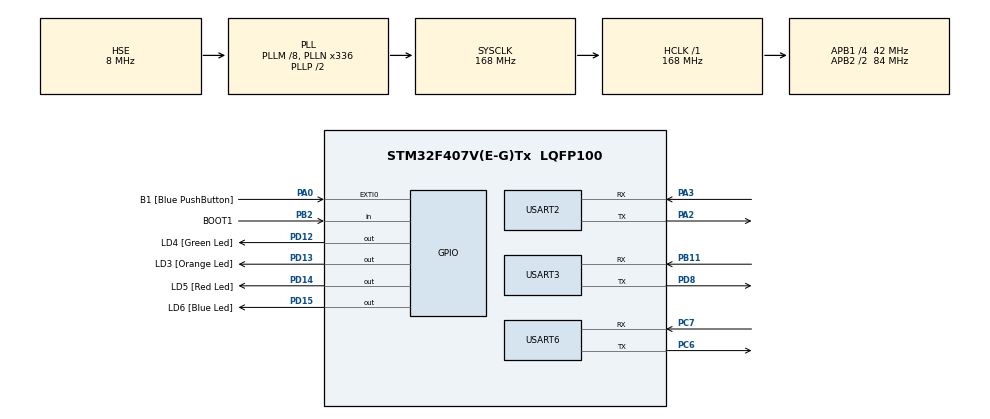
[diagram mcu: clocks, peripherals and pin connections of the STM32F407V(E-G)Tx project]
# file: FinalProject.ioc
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FREERTOS.Tasks01=defaultTask,0,128,StartDefaultTask,Default,NULL
Mcu.Family=STM32F4
Mcu.Name=STM32F407V(E-G)Tx
Mcu.Package=LQFP100
NVIC.EXTI0_IRQn=true\:0\:0\:false\:false\:true\:false\:true\:true
NVIC.PriorityGroup=NVIC_PRIORITYGROUP_4
NVIC.TIM8_TRG_COM_TIM14_IRQn=true\:0\:0\:false\:false\:true\:false\:false\:true
NVIC.TimeBase=TIM8_TRG_COM_TIM14_IRQn
NVIC.TimeBaseIP=TIM14
NVIC.USART2_IRQn=true\:5\:0\:false\:false\:true\:true\:true\:true
NVIC.USART3_IRQn=true\:5\:0\:false\:false\:true\:true\:true\:true
PA0-WKUP.GPIO_Label=B1 [Blue PushButton]
PA0-WKUP.GPIO_ModeDefaultEXTI=GPIO_MODE_IT_RISING
PA0-WKUP.GPIO_PuPd=GPIO_NOPULL
PA0-WKUP.Signal=GPXTI0
PA13.GPIO_Label=SWDIO
PA13.Mode=Serial_Wire
PA13.Signal=SYS_JTMS-SWDIO
PA14.GPIO_Label=SWCLK
PA14.Mode=Serial_Wire
PA14.Signal=SYS_JTCK-SWCLK
PA2.Mode=Asynchronous
PA2.Signal=USART2_TX
PA3.Mode=Asynchronous
PA3.Signal=USART2_RX
PB11.Mode=Asynchronous
PB11.Signal=USART3_RX
PB2.GPIO_Label=BOOT1
PB2.GPIO_Mode=GPIO_MODE_INPUT
PB2.GPIO_PuPd=GPIO_NOPULL
PB2.Signal=GPIO_Input
PB3.GPIO_Label=SWO
PB3.Signal=SYS_JTDO-SWO
PC14-OSC32_IN.GPIO_Label=PC14-OSC32_IN
PC14-OSC32_IN.Mode=LSE-External-Oscillator
PC14-OSC32_IN.Signal=RCC_OSC32_IN
PC15-OSC32_OUT.GPIO_Label=PC15-OSC32_OUT
PC15-OSC32_OUT.Mode=LSE-External-Oscillator
PC15-OSC32_OUT.Signal=RCC_OSC32_OUT
PC6.Mode=Asynchronous
PC6.Signal=USART6_TX
PC7.Mode=Asynchronous
PC7.Signal=USART6_RX
PD12.GPIO_Label=LD4 [Green Led]
PD12.GPIO_PuPd=GPIO_NOPULL
PD12.GPIO_Speed=GPIO_SPEED_FREQ_LOW
PD12.Signal=GPIO_Output
PD13.GPIO_Label=LD3 [Orange Led]
PD13.GPIO_PuPd=GPIO_NOPULL
PD13.GPIO_Speed=GPIO_SPEED_FREQ_LOW
PD13.Signal=GPIO_Output
PD14.GPIO_Label=LD5 [Red Led]
PD14.GPIO_PuPd=GPIO_NOPULL
PD14.GPIO_Speed=GPIO_SPEED_FREQ_LOW
PD14.Signal=GPIO_Output
PD15.GPIO_Label=LD6 [Blue Led]
PD15.GPIO_PuPd=GPIO_NOPULL
PD15.GPIO_Speed=GPIO_SPEED_FREQ_LOW
PD15.Signal=GPIO_Output
PD8.Mode=Asynchronous
PD8.Signal=USART3_TX
PH0-OSC_IN.GPIO_Label=PH0-OSC_IN
PH0-OSC_IN.Mode=HSE-External-Oscillator
PH0-OSC_IN.Signal=RCC_OSC_IN
PH1-OSC_OUT.GPIO_Label=PH1-OSC_OUT
PH1-OSC_OUT.Mode=HSE-External-Oscillator
PH1-OSC_OUT.Signal=RCC_OSC_OUT
ProjectManager.HeapSize=0x200
ProjectManager.StackSize=0x400
ProjectManager.TargetToolchain=Makefile
RCC.48MHZClocksFreq_Value=48000000
RCC.AHBFreq_Value=168000000
RCC.APB1CLKDivider=RCC_HCLK_DIV4
RCC.APB1Freq_Value=42000000
RCC.APB1TimFreq_Value=84000000
RCC.APB2CLKDivider=RCC_HCLK_DIV2
RCC.APB2Freq_Value=84000000
RCC.APB2TimFreq_Value=168000000
RCC.CortexFreq_Value=168000000
RCC.HCLKFreq_Value=168000000
RCC.HSE_VALUE=8000000
RCC.HSI_VALUE=16000000
RCC.PLLM=8
RCC.PLLN=336
RCC.PLLQ=7
RCC.PLLSourceVirtual=RCC_PLLSOURCE_HSE
RCC.SYSCLKFreq_VALUE=168000000
RCC.SYSCLKSource=RCC_SYSCLKSOURCE_PLLCLK
RCC.VCOOutputFreq_Value=336000000
USART2.VirtualMode=VM_ASYNC
USART3.VirtualMode=VM_ASYNC
USART6.VirtualMode=VM_ASYNC
VP_FREERTOS_VS_CMSIS_V1.Mode=CMSIS_V1
VP_SYS_VS_tim14.Mode=TIM14
board=STM32F4DISCOVERY

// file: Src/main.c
/* USER CODE BEGIN Header */
/**
/*
 * Copyright (C)  2019 Hamid Najafi <hamid.najafi@email.com>
 * Use of this source code is governed by a BSD-style
 * license that can be found in the LICENSE file.
 */
/* USER CODE END Header */

#include "main.h"
#include "cmsis_os.h"

/* USER CODE BEGIN Includes */
#include "eeprom.h"
#include <stdio.h>
#include <string.h>

/* USER CODE END Includes */

UART_HandleTypeDef huart2;
UART_HandleTypeDef huart3;
UART_HandleTypeDef huart6;

osThreadId defaultTaskHandle;
/* USER CODE BEGIN PV */

#define Wifi_Init 1

#define IndexPageCharCount 731
unsigned char IndexPage[IndexPageCharCount] =
    "<style type=\"text/css\">body{background-color:rgb(162,168,170)}.title{padding:15px 32px;border:2px solid #857f7f;border-radius:15px}.btn{background-color:rgb(21,34,36);border:1px solid #000;color:white;padding:20px 100px;border-radius:8px;width:100%}.btn:hover{background-color:hsl(315,42%,30%)}</style><h1 class=\"title\" align=\"center\">WiFi SMS Panel</h1><div><form action=\"/contact\"><button class=\"btn\" id=contact type=\"submit\" onclick=\"contact()\">Goto Contact Page</button></form><form action=\"/sms\"><button class=\"btn\" id=sms type=\"submit\" onclick=\"sms()\">Goto SMS Page</button></form><form action=\"/call\"><button class=\"btn\" id=sms type=\"submit\" onclick=\"sms()\">Goto Call Page</button></form></div>";
#define ContactPageCharCount1 1139
char ContactPage1[ContactPageCharCount1] =
    "<style type=\"text/css\">body{background-color:rgb(162,168,170)}.title{padding:5px;border:2px solid #857f7f;border-radius:5px}.style{background-color:rgb(21,34,36);border:1px solid #000;color:white;text-align:center;border-radius:8px;padding:10px 70px}.style2{background-color:rgb(21,34,36);border:1px solid #000;color:white;text-align:center;border-radius:8px;padding:10px 80px}.style2:hover,.style:hover{background-color:hsl(315,42%,30%)}table{font-family:arial,sans-serif;border-collapse:collapse;width:100%;text-align:center}td,th{border:1px solid #ddd;padding:8px}tr:nth-child(even){background-color:#dbd3d3}</style><h1 class=\"title\" align=\"center\">Add Contact</h1><div align=\"center\"><form name=\"myform\" method=\"GET\"><br><label>Name</label><input class=\"style\" type=\"text\" name=\"name\"><label>Number</label><input class=\"style\" type=\"text\" name=\"number\"><br><br><button class=\"style\" type=\"submit\">Save Contact</button></div></form><div align=\"center\"><form action=\"/erase\"><button class=\"style\" type=\"submit\">Mass Erase</button></form><table style=\"width:30%\"><tr><th>Name</th><th>Number</th></tr>";
#define ContactPageCharCount2 329
char ContactPage2[ContactPageCharCount2] =
    "</table><br><form action=\"/index\"><div align=\"center\"><button class=\"style\" type=\"submit\">Return to Main Page</button></form><br><br><form action=\"/sms\"><button class=\"style2\" type=\"submit\">Go to SMS Page</button></form><form action=\"/call\"><button class=\"style2\" type=\"submit\">Go to Call Page</button></form>";
#define SuccessPageCharCount 896
unsigned char SuccessPage[SuccessPageCharCount] =
    "<style type=\"text/css\">body{background-color:rgb(162,168,170)}.title{padding:5px;border:2px solid #857f7f;border-radius:5px}.btn{background-color:rgb(21,34,36);border:1px solid #000;color:white;padding:12px 60px;width:20%;border-radius:8px}.btn:hover{background-color:hsl(315,42%,30%)}</style><h1 class=\"title\" align=\"center\">Successfully done</h1><div align=\"center\"><h2>Now you can return. </h2></div><form action=\"/index\"><div align=\"center\"><button class=\"btn\" type=\"submit\">Go to Main Page</button></form><br><br><form action=\"/contact\"><div align=\"center\"><button class=\"btn\" type=\"submit\">Go to Contact Page</button></form><br><br><form action=\"/sms\"><div align=\"center\"><button class=\"btn\" type=\"submit\">Go to SMS Page</button></form><br><br><form action=\"/call\"><div align=\"center\"><button class=\"btn\" type=\"submit\">Go to Call Page</button></form>";
#define SMSPageCharCount 1066
unsigned char SMSPage[SMSPageCharCount] =
    "<style type=\"text/css\">body{background-color:rgb(162,168,170)}.title{padding:5px;border:2px solid #857f7f;-webkit-border-radius:5px;border-radius:5px}.text{background-color:rgb(21,34,36);border:1px solid #000;color:white;padding:70px 100px;border-radius:8px}.style{background-color:rgb(21,34,36);border:1px solid #000;color:white;text-align:center;border-radius:8px;padding:10px 70px}.text:hover,.style:hover{background-color:hsl(315,42%,30%)}</style><h1 class=\"title\" align=\"center\">Send Text Message</h1><form name=\"myform\" method=\"GET\"><div align=\"center\"><br><br><label>Contact</label><input class=\"style\" type=\"text\" name=\"name\" size=\"25\"><br><br><label>Text Mg</label><input class=\"text\" type=\"text\" name=\"text\" size=\"25\"><br><br><button class=\"style\" type=\"submit\">Send</button></div></form></form><form action=\"/index\"><div align=\"center\"><button class=\"style\" type=\"submit\">Return to Main Page</button></form><br><br><form action=\"/contact\"><button class=\"style\" type=\"submit\">Go to Contact Page</button></form>";
#define ErrorPageCharCount1 429
unsigned char ErrorPage1[ErrorPageCharCount1] =
    "<style type=\"text/css\">body{background-color:rgb(162,168,170)}.title{padding:5px;border:2px solid #857f7f;border-radius:5px}.btn{background-color:rgb(21,34,36);border:1px solid #000;color:white;padding:12px 60px;width:20%;border-radius:8px}.btn:hover{background-color:hsl(315,42%,30%)}</style><h1 class=\"title\" align=\"center\">An error occurred</h1><div align=\"center\"><h2>Sorry,something went wrong! </h2><h3>Description:";
#define ErrorPageCharCount2 496
unsigned char ErrorPage2[ErrorPageCharCount2] =
    "</h3><form action=\"/index\"><div align=\"center\"><button class=\"btn\" type=\"submit\">Go to Main Page</button></form><br><br><form action=\"/contact\"><div align=\"center\"><button class=\"btn\" type=\"submit\">Go to Contact Page</button></form><br><br><form action=\"/sms\"><div align=\"center\"><button class=\"btn\" type=\"submit\">Go to SMS Page</button></form><br><br><form action=\"/call\"><div align=\"center\"><button class=\"btn\" type=\"submit\">Go to Call Page</button></form></div>";
// #define ErrorPageCharCount 509
// unsigned char ErrorPage[ErrorPageCharCount] =
//     "<style type=\"text/css\">body{background-color:rgb(162,168,170)}.title{padding:5px;border:2px solid #857f7f;border-radius:5px}.btn{background-color:rgb(21,34,36);border:1px solid #000;color:white;padding:12px 60px;border-radius:8px}.btn:hover{background-color:hsl(315,42%,30%)}</style><h1 class=\"title\" align=\"center\">Error page</h1><div align=\"center\"><h2>Sorry,something went wrong! </h2><br><form action=\"/index\"><button class=\"btn\" type=\"submit\">Goto to Main Page</button></form></div><br><br>";

#define CallPageCharCount 797
unsigned char CallPage[CallPageCharCount] =
    "<style type=\"text/css\">body{background-color:rgb(162,168,170)}.title{padding:5px;border:2px solid #857f7f;border-radius:5px}.style{background-color:rgb(21,34,36);border:1px solid #000;color:white;text-align:center;border-radius:8px;padding:10px 80px}.style:hover{background-color:hsl(315,42%,30%)}</style><h1 class=\"title\" align=\"center\">Call</h1><form name=\"myform\" method=\"GET\"><div align=\"center\"><br><label>Contact</label><input class=\"style\" type=\"text\" name=\"name\"><br><br><button class=\"style\" type=\"submit\">Make Call</button></form></div><form action=\"/index\"><div align=\"center\"><button class=\"style\" type=\"submit\">Return to Main Page</button></form><br><br><form action=\"/contact\"><button class=\"style\" type=\"submit\">Go to Contact Page</button></form>";
#define TalkingPageCharCount 449
unsigned char TalkingPage[TalkingPageCharCount] =
    "<style type=\"text/css\">body{background-color:rgb(162,168,170)}.title{padding:5px;border:2px solid #857f7f;border-radius:5px}.btn{background-color:rgb(21,34,36);border:1px solid #000;color:white;padding:12px 60px;border-radius:8px}.btn:hover{background-color:hsl(315,42%,30%)}</style><h1 class=\"title\" align=\"center\">Call</h1><br><br><form action=\"/endcall\"><div align=\"center\"><button class=\"btn\" type=\"submit\">End Call</button></form>";

#define NB_OF_VAR 3
#define ContactCountROMAddr 0x5000
#define ContactNameROMAddr 0x6000
#define ContactNumberROMAddr 0x7000

#define ContactCountROMAddrIndex 0
#define ContactNameROMAddrIndex 1
#define ContactNumberROMAddrIndex 2

uint16_t VirtAddVarTab[NB_OF_VAR] = {ContactCountROMAddr, ContactNameROMAddr, ContactNumberROMAddr};
uint16_t WriteAddr;
uint16_t ReadAddr;

unsigned char buffer[60];

uint16_t ContactCount = 0;

#define ContactNameMaxLength 10
unsigned char ContactName[ContactNameMaxLength];
unsigned char ContactNameTemp[ContactNameMaxLength];
uint8_t ContactNameLength;

#define ContactNumberLength 11
unsigned char ContactNumber[ContactNumberLength];
unsigned char ContactNumberTemp[ContactNumberLength];

#define TextMaxLength 50
unsigned char TextMessage[TextMaxLength];
uint8_t TextLength;

#define ErrorLength 60
unsigned char ErrorText[ErrorLength];
uint8_t ErrorTextLength;

unsigned char EspRxBuffer[1];
unsigned char EspRxArray[400];
#define MAXRequestHeaderSize 50
uint8_t rxCounter = 0;
unsigned char RequestHeader[MAXRequestHeaderSize];
uint8_t request = 0;
uint8_t ready = 0;
uint8_t RequestHeaderCounter = 0;
uint8_t clientNumber = 5;

/* USER CODE END PV */

void SystemClock_Config(void);
static void MX_GPIO_Init(void);
static void MX_USART2_UART_Init(void);
static void MX_USART3_UART_Init(void);
static void MX_USART6_UART_Init(void);
void StartDefaultTask(void const * argument);

/* USER CODE BEGIN PFP */
// void SIMCOM_Init();
void SIMCOM_SendSMS();
void SIMCOM_MakeCall();
void SIMCOM_EndCall();
void EEPROM_Init();
void EEPROM_ListContacts();
int EEPROM_AddContact();
int EEPROM_GetName();
int EEPROM_GetNumber();
void ESP_Init(int FullInit);
void ESP_SendPage();
void ESP_HandleRequset();
int ESP_HandleHeaderParam();
void ESP_SendIndex();
void ESP_SendContact();
//void ESP_SendContactSaved();
void ESP_SendSMS();
//void ESP_SendSMSSent();
void ESP_SendCall();
void ESP_SendTalking();
void ESP_SendError();
void ESP_HandleContact();
void ESP_HandleSMS();
void ESP_HandleEndCall();
void ESP_HandleCall();
void ESP_HandleErase();
/* USER CODE END PFP */

/* USER CODE BEGIN 0 */
void SIMCOM_Init()
{
  // sprintf(buffer, "AT\r\n");
  // HAL_UART_Transmit(&huart2, buffer, 4, HAL_MAX_DELAY);
  // HAL_Delay(1000);
  sprintf(buffer, "AT+CNMI=1, 2, 0, 0, 0\r\n");
  HAL_UART_Transmit(&huart2, buffer, 23, HAL_MAX_DELAY);
  HAL_Delay(1000);
  sprintf(buffer, "AT+CBAND=\"ALL_BAND\"\r\n");
  HAL_UART_Transmit(&huart2, buffer, 21, HAL_MAX_DELAY);
  //HAL_Delay(5000);
}

void SIMCOM_SendSMS()
{
  sprintf(buffer, "AT+CMGF=1\r\n");
  HAL_UART_Transmit(&huart2, buffer, 11, HAL_MAX_DELAY);
  HAL_Delay(1000);

  sprintf(buffer, "AT+CMGS=\"%s\"\r\n", ContactNumberTemp);
  HAL_UART_Transmit(&huart2, buffer, 23, HAL_MAX_DELAY);
  HAL_Delay(2000);

  sprintf(buffer, "%s\r\n", TextMessage);
  HAL_UART_Transmit(&huart2, buffer, TextLength + 2, HAL_MAX_DELAY);
  HAL_Delay(1000);
  sprintf(buffer, "%c", 0x1a);
  HAL_UART_Transmit(&huart2, buffer, 1, HAL_MAX_DELAY);
  HAL_Delay(1000);
}
void SIMCOM_MakeCall()
{
  sprintf(buffer, "ATD%s;\r\n", ContactNumberTemp);
  HAL_UART_Transmit(&huart2, buffer, 17, HAL_MAX_DELAY);
}
void SIMCOM_EndCall()
{
  sprintf(buffer, "ATH\r\n");
  HAL_UART_Transmit(&huart2, buffer, 5, HAL_MAX_DELAY);
}
void EEPROM_Init()
{
  HAL_FLASH_Unlock();
  EE_Init();
  HAL_FLASH_Lock();

  HAL_FLASH_Unlock();
  //get count of contacts in eeprom
  ReadAddr = VirtAddVarTab[ContactCountROMAddrIndex];
  WriteAddr = VirtAddVarTab[ContactCountROMAddrIndex];
  if (EE_ReadVariable(ReadAddr, &ContactCount) != HAL_OK)
  {
    HAL_UART_Transmit(&huart6, "Full erase detected!\r\n", 22, HAL_MAX_DELAY);
    //so if not defined set ContactCount to 0
    HAL_FLASH_Unlock();
    EE_WriteVariable(WriteAddr, ContactCount);
    HAL_FLASH_Lock();
  }
  else
  {
    // sprintf(buffer, "Number of saved Contacts: %d\r\n", ContactCount);
    // HAL_UART_Transmit(&huart6, buffer, 29, HAL_MAX_DELAY);
  }
  HAL_FLASH_Lock();
}
void EEPROM_ListContacts()
{
  if (ContactCount == 0)
  {
    HAL_UART_Transmit(&huart6, "No Contact\r\n", 12, HAL_MAX_DELAY);
    return;
  }

  sprintf(buffer, "Contact List (%d):\r\n", ContactCount);
  HAL_UART_Transmit(&huart6, buffer, 19, HAL_MAX_DELAY);

  unsigned char tempName[ContactNameMaxLength];
  uint16_t tempNameLength = 0;
  unsigned char tempNumber[ContactNumberLength];
  uint16_t temp;

  // For each contact
  for (int i = 0; i < ContactCount; i++)
  {
    // Read Number
    ReadAddr = VirtAddVarTab[ContactNumberROMAddrIndex] + (i * ContactNumberLength);
    for (int j = 0; j < ContactNumberLength; j++, ReadAddr++)
    {
      HAL_FLASH_Unlock();
      EE_ReadVariable(ReadAddr, &temp);
      HAL_FLASH_Lock();
      tempNumber[j] = temp;
    }

    // Read Name
    memset(tempName, 0, sizeof(tempName));
    tempNameLength = 0;
    ReadAddr = VirtAddVarTab[ContactNameROMAddrIndex] + (i * ContactNameMaxLength);
    for (int j = 0; j < ContactNameMaxLength; j++, ReadAddr++)
    {
      HAL_FLASH_Unlock();
      if (EE_ReadVariable(ReadAddr, &temp) != HAL_OK)
      {
        break; // Its not because an error, the name ENDS if it cant read.
      }
      HAL_FLASH_Lock();

      if ((temp >= 0x41 && temp <= 0x5A) || (temp >= 0x61 && temp <= 0x7a))
      {
        tempNameLength++;
        tempName[j] = temp;
      }
    }
    // sprintf(buffer, "Contact Name Length:%d\r\n", tempNameLength);
    // HAL_UART_Transmit(&huart6, buffer, 23, 10000);

    memset(buffer, 0, sizeof(buffer));
    sprintf(buffer, "%d- %s, %s", i + 1, tempName, tempNumber);
    HAL_UART_Transmit(&huart6, buffer, 5 + tempNameLength + ContactNumberLength, 10000);
    HAL_UART_Transmit(&huart6, "\r\n", 2, 10000);
  }
}

int EEPROM_AddContact()
{
  HAL_UART_Transmit(&huart6, "Adding Contact in EEPROM\r\n", 26, HAL_MAX_DELAY);

  if (EEPROM_GetName() != -1)
  {
    sprintf(ErrorText, "contact with this number exists, its name is: %s", ContactNameTemp);
    ErrorTextLength = 46 + ContactNameLength;
    return -1;
  }

  if (EEPROM_GetNumber() != -1)
  {
    sprintf(buffer, "contact with this name exists, its number is: %s", ContactNumberTemp);
    ErrorTextLength = 46 + ContactNumberLength;
    return -1;
  }

  // Write Number
  HAL_FLASH_Unlock();
  //add contact to the end of list
  WriteAddr = VirtAddVarTab[ContactNumberROMAddrIndex] + (ContactCount * ContactNumberLength);

  for (int i = 0; i < ContactNumberLength; i++, WriteAddr++)
  {
    if (ContactNumber[i] >= 0x30 && ContactNumber[i] <= 0x39)
      EE_WriteVariable(WriteAddr, ContactNumber[i]);
  }
  HAL_FLASH_Lock();

  // Write Name
  HAL_FLASH_Unlock();
  WriteAddr = VirtAddVarTab[ContactNameROMAddrIndex] + (ContactCount * ContactNameMaxLength);
  //Note : Writeadd use MAX length but FOR use Lenght from HTTP Header
  for (int i = 0; i < ContactNameMaxLength; i++, WriteAddr++)
  {
    if ((ContactName[i] >= 0x41 && ContactName[i] <= 0x5A) || (ContactName[i] >= 0x61 && ContactName[i] <= 0x7a))
    {
      EE_WriteVariable(WriteAddr, ContactName[i]);
    }
    else
    {
      break;
    }
  }
  HAL_FLASH_Lock();

  // Write Contact Count
  ContactCount = ContactCount + 1;
  HAL_FLASH_Unlock();
  WriteAddr = VirtAddVarTab[ContactCountROMAddrIndex];
  EE_WriteVariable(WriteAddr, ContactCount);
  HAL_FLASH_Lock();

  // memset(buffer, 0, sizeof(buffer));
  // sprintf(buffer, "%s, %s Added Successfully\r\n", ContactName, ContactNumber);
  // HAL_UART_Transmit(&huart6, buffer, 23 + ContactNameLength + ContactNumberLength, 10000);

  EEPROM_ListContacts();

  return 0;
}

int EEPROM_GetName()
{

  // We have Number => find number index => find index => find name
  HAL_UART_Transmit(&huart6, "Checking for Number in EEPROM\r\n", 31, HAL_MAX_DELAY);

  int index = -1;
  uint16_t temp;
  unsigned char tempNumber[ContactNumberLength];

  // For each contact
  for (int i = 0; i < ContactCount; i++)
  {
    // Read Number
    ReadAddr = VirtAddVarTab[ContactNumberROMAddrIndex] + (i * ContactNumberLength);
    for (int j = 0; j < ContactNumberLength; j++, ReadAddr++)
    {
      HAL_FLASH_Unlock();
      EE_ReadVariable(ReadAddr, &temp);
      HAL_FLASH_Lock();
      tempNumber[j] = temp;
    }
    for (int j = 0; j < ContactNumberLength; j++)
    {
      if (tempNumber[j] != ContactNumber[j])
        break;
      else if (j == (ContactNumberLength - 1))
        index = i;
    }
  }

  if (index != -1)
  {
    memset(ContactName, 0, sizeof(ContactName));

    // Read Name
    ContactNameLength = 0;
    ReadAddr = VirtAddVarTab[ContactNameROMAddrIndex] + (index * ContactNameMaxLength);
    for (int j = 0; j < ContactNameMaxLength; j++, ReadAddr++)
    {
      HAL_FLASH_Unlock();
      if (EE_ReadVariable(ReadAddr, &temp) != HAL_OK)
      {
        break; // Its not because an error, the name ENDS if it cant read.
      }
      HAL_FLASH_Lock();

      if ((temp >= 0x41 && temp <= 0x5A) || (temp >= 0x61 && temp <= 0x7a))
      {
        ContactNameLength++;
        ContactNameTemp[j] = temp;
      }
    }
    memset(buffer, 0, sizeof(buffer));
    sprintf(buffer, "Found Contact with this Number, Name is: %s\r\n", ContactNameTemp);
    HAL_UART_Transmit(&huart6, buffer, 43 + ContactNameLength, HAL_MAX_DELAY);
  }
  else
  {
    sprintf(buffer, "Contact Number doesnt exist\r\n");
    HAL_UART_Transmit(&huart6, buffer, 29, 10000);
    index = -1;
  }
  HAL_FLASH_Lock();

  return index;
}
int EEPROM_GetNumber()
{
  // We have name => find name index => find index
  HAL_UART_Transmit(&huart6, "Checking for Name in EEPROM\r\n", 29, HAL_MAX_DELAY);

  int index = -1;
  uint16_t temp;
  unsigned char tempName[ContactNameMaxLength];
  uint16_t tempNameLength = 0;

  // For each contact
  for (int i = 0; i < ContactCount; i++)
  {
    // Read Name
    memset(tempName, 0, sizeof(tempName));
    tempNameLength = 0;
    ReadAddr = VirtAddVarTab[ContactNameROMAddrIndex] + (i * ContactNameMaxLength);
    for (int j = 0; j < ContactNameMaxLength; j++, ReadAddr++)
    {
      HAL_FLASH_Unlock();
      if (EE_ReadVariable(ReadAddr, &temp) != HAL_OK)
      {
        break; // Its not because an error, the name ENDS if it cant read.
      }
      HAL_FLASH_Lock();

      if ((temp >= 0x41 && temp <= 0x5A) || (temp >= 0x61 && temp <= 0x7a))
      {
        tempNameLength++;
        tempName[j] = temp;
      }
    }

    for (int j = 0; j < ContactNameLength; j++)
    { // upper and lower case check
      if (tempName[j] >= 0x41 && tempName[j] <= 0x5A && ContactName[j] >= 0x61 && ContactName[j] <= 0x7a)
      {
        ContactName[j] -= 0x20;
      }
      if (tempName[j] >= 0x61 && tempName[j] <= 0x7a && ContactName[j] >= 0x41 && ContactName[j] <= 0x5A)
      {
        tempName[j] -= 0x20;
      }
      if (tempName[j] != ContactName[j])
        break;
      else if ((j == (ContactNameLength - 1)) && (ContactNameLength == tempNameLength))
        index = i;
    }
  }

  if (index != -1)
  {

    // Read Number
    ReadAddr = VirtAddVarTab[ContactNumberROMAddrIndex] + (index * ContactNumberLength);
    for (int j = 0; j < ContactNumberLength; j++, ReadAddr++)
    {
      HAL_FLASH_Unlock();
      if (EE_ReadVariable(ReadAddr, &temp) != HAL_OK)
      {
        break; // Its not because an error, the name ENDS if it cant read.
      }
      HAL_FLASH_Lock();
      ContactNumberTemp[j] = temp;
    }

    sprintf(buffer, "Found Contact with this Name, Number is: %s\r\n", ContactNumberTemp);
    HAL_UART_Transmit(&huart6, buffer, 43 + ContactNumberLength, HAL_MAX_DELAY);
  }

  else
  {
    sprintf(buffer, "Contact Name doesnt exist\r\n");
    HAL_UART_Transmit(&huart6, buffer, 27, 10000);
  }

  return index;
}

void ESP_Init(int FullInit)
{

   HAL_UART_Transmit(&huart3, "AT\r\n", sizeof("AT\r\n"), 1000);
   HAL_Delay(1000);

  if (FullInit != 0)
  {
    HAL_UART_Transmit(&huart3, "AT+CWMODE=1\r\n", 13, 1000);
    HAL_Delay(1000);

    HAL_UART_Transmit(&huart3, "AT+CWLAP\r\n", 10, 1000);
    HAL_Delay(5000);

    //Hamid's iPhone
    //sprintf(buffer, "AT+CWJAP=\"Hamid%c%c%cs iPhone\",\"51176915\"\r\n", 0xE2, 0X80, 0X99);
    //HAL_UART_Transmit(&huart3, buffer, 40, 1000);

    // ZMI-MF885
    //HAL_UART_Transmit(&huart3, "AT+CWJAP=\"ZMI-MF885\",\"51176915\"\r\n", sizeof("AT+CWJAP=\"ZMI-MF885\",\"51176915\"\r\n"), 1000);

    //Linksys-XAC1900
    //HAL_UART_Transmit(&huart3, "AT+CWJAP=\"Linksys-XAC1900\",\"Mypass.97\"\r\n", sizeof("AT+CWJAP=\"Linksys-XAC1900\",\"Mypass.97\"\r\n"), 1000);

    //WiFi-FUM
    //HAL_UART_Transmit(&huart3, "AT+CWJAP=\"WiFi-FUM\",\"ferdowsi\"\r\n",sizeof("AT+CWJAP=\"WiFi-FUM\",\"ferdowsi\"\r\n"),1000);

    HAL_Delay(10000);
  }

  //HAL_UART_Transmit(&huart3, "AT+CIPSTA=\"192.168.21.120\",\"192.168.21.1\",\"255.255.255.0\"\r\n", 59, 1000);
  //HAL_UART_Transmit(&huart3, "AT+CIPSTA=\"192.168.1.120\",\"192.168.1.1\",\"255.255.255.0\"\r\n", 58, 1000);
  HAL_Delay(1000);

  HAL_UART_Transmit(&huart3, "AT+CWJAP=\"ZMI-MF885\",\"51176915\"\r\n", 33, 1000);
  //HAL_UART_Transmit(&huart3, "AT+CWJAP=\"Linksys-XAC1900\",\"Mypass.97\"\r\n", sizeof("AT+CWJAP=\"Linksys-XAC1900\",\"Mypass.97\"\r\n"), 1000);
  HAL_Delay(10000);

  HAL_UART_Transmit(&huart3, "AT+CIPMUX=1\r\n", 13, 1000);
  HAL_Delay(1000);

  HAL_UART_Transmit(&huart3, "AT+CIPSERVER=1,80\r\n", 19, 1000);
  //HAL_Delay(1000);

  //HAL_UART_Transmit(&huart3, "AT+CIFSR\r\n", sizeof("AT+CIFSR\r\n"), 1000);
  //HAL_Delay(1000);

  HAL_UART_Receive_IT(&huart3, EspRxBuffer, 1);
}
void ESP_HandleRequset()
{
  //Debug
  HAL_UART_Transmit(&huart6, "\r\n====================\r\n", 24, 1000);
  sprintf(buffer, "Client %d Connected\r\n", clientNumber);
  HAL_UART_Transmit(&huart6, buffer, 20, 1000);
  sprintf(buffer, "Request is %s\r\n", RequestHeader); // Have 13 word
  HAL_UART_Transmit(&huart6, buffer, 13 + RequestHeaderCounter, 1000);
  //Debug

  memset(ContactName, 0, sizeof(ContactName));
  memset(ContactNumber, 0, sizeof(ContactNumber));
  memset(TextMessage, 0, sizeof(TextMessage));

  if (RequestHeader[0] == 'c' && RequestHeader[1] == 'o' && RequestHeader[2] == 'n' && RequestHeader[3] == 't' && RequestHeader[4] == 'a' && RequestHeader[5] == 'c' && RequestHeader[6] == 't')
    ESP_HandleContact();

  else if (RequestHeader[0] == 's' && RequestHeader[1] == 'm' && RequestHeader[2] == 's')
    ESP_HandleSMS();

  else if (RequestHeader[0] == 'e' && RequestHeader[1] == 'n' && RequestHeader[2] == 'd' && RequestHeader[3] == 'c' && RequestHeader[4] == 'a' && RequestHeader[5] == 'l' && RequestHeader[6] == 'l')
    ESP_HandleEndCall();

  else if (RequestHeader[0] == 'c' && RequestHeader[1] == 'a' && RequestHeader[2] == 'l' && RequestHeader[3] == 'l')
    ESP_HandleCall();
  else if (RequestHeader[0] == 'e' && RequestHeader[1] == 'r' && RequestHeader[2] == 'a' && RequestHeader[3] == 's' && RequestHeader[4] == 'e')
    ESP_HandleErase();

  else
    ESP_SendIndex();
}
void ESP_HandleErase()
{
  HAL_UART_Transmit(&huart6, "Handle Erase Req ....\r\n", 22, 1000);
  HAL_UART_Transmit(&huart6, "======Removing======\r\n", 22, 1000);
  EEPROM_ListContacts();
  ContactCount = 0;
  HAL_FLASH_Unlock();
  WriteAddr = VirtAddVarTab[ContactCountROMAddrIndex];
  EE_WriteVariable(WriteAddr, ContactCount);
  HAL_FLASH_Lock();
  HAL_UART_Transmit(&huart6, "========Done========\r\n", 22, 1000);
  ESP_SendSuccess();
}
void ESP_HandleCall()
{
  HAL_UART_Transmit(&huart6, "Handle Call Req ....\r\n", 22, 1000);
  int haveReq = 0;

  for (uint8_t i = 0; i < RequestHeaderCounter; i++)
    if (RequestHeader[i - 5] == 'n' && RequestHeader[i - 4] == 'a' && RequestHeader[i - 3] == 'm' && RequestHeader[i - 2] == 'e')
      haveReq = 1;

  if (haveReq)
  {

    if ((ESP_HandleHeaderParam() == 0) && (EEPROM_GetNumber() != -1))
    {
      HAL_UART_Transmit(&huart6, buffer, 13 + ContactNumberLength, HAL_MAX_DELAY);
      HAL_UART_Transmit(&huart6, "Making Call\r\n", 13, 1000);
      SIMCOM_MakeCall();
      ESP_SendTalking();
    }

    else
    {
      ESP_SendError(); // please enter valid name and number
    }
  }
  else
  {
    ESP_SendCall();
  }
}
void ESP_HandleEndCall()
{
  HAL_UART_Transmit(&huart6, "Handle Hang up Req ....\r\n", 25, 1000);
  HAL_UART_Transmit(&huart6, "Ending Call ....\r\n", 18, 1000);
  SIMCOM_EndCall();
  ESP_SendIndex();
}
void ESP_HandleContact()
{
  HAL_UART_Transmit(&huart6, "Handle Contact Req ....\r\n", 25, 1000);
  int haveReq = 0;

  for (uint8_t i = 0; i < RequestHeaderCounter; i++)
    if (RequestHeader[i - 5] == 'n' && RequestHeader[i - 4] == 'a' && RequestHeader[i - 3] == 'm' && RequestHeader[i - 2] == 'e')
      haveReq = 1;

  if (haveReq)
  {
    if (ESP_HandleHeaderParam() == 0 && (EEPROM_AddContact() == 0))
    {
      //ESP_SendContactSaved();
      ESP_SendSuccess();
    }
    else
    {
      ESP_SendError(); // please enter valid name and number
    }
  }
  else
  {
    ESP_SendContact();
  }
}

void ESP_HandleSMS()
{
  HAL_UART_Transmit(&huart6, "Handle SMS Req ....\r\n", 21, 1000);
  int haveReq = 0;
  for (uint8_t i = 0; i < RequestHeaderCounter; i++)
    if (RequestHeader[i - 5] == 'n' && RequestHeader[i - 4] == 'a' && RequestHeader[i - 3] == 'm' && RequestHeader[i - 2] == 'e')
      haveReq = 1;

  if (haveReq)
  {
    if ((ESP_HandleHeaderParam() == 0) && (EEPROM_GetNumber() != -1))
    {
      HAL_UART_Transmit(&huart6, "Sending SMS\r\n", 13, 1000);
      SIMCOM_SendSMS();
      //ESP_SendSMSSent();
      ESP_SendSuccess();
    }
    else
    {
      ESP_SendError();
      return;
    }
  }
  else
  {
    ESP_SendSMS();
  }
}

int ESP_HandleHeaderParam()
{
  uint8_t numberIndex;
  uint8_t nameIndex;
  uint8_t numberEndIndex;
  uint8_t nameEndIndex;
  uint8_t textIndex;
  uint8_t textEndIndex;

  uint8_t haveName = 0;
  uint8_t haveText = 0;
  uint8_t haveNumber = 0;

  for (uint8_t i = 0; i < RequestHeaderCounter; i++)
  {
    if (RequestHeader[i - 7] == 'n' && RequestHeader[i - 6] == 'u' && RequestHeader[i - 5] == 'm' && RequestHeader[i - 4] == 'b' && RequestHeader[i - 3] == 'e' && RequestHeader[i - 2] == 'r')
    {
      numberIndex = i;
      numberEndIndex = RequestHeaderCounter - 1;
      //ContactNumberLength = numberEndIndex - numberIndex = 11
      haveNumber = 1;
      break;
    }
  }
  for (uint8_t i = 0; i < RequestHeaderCounter; i++)
  {
    if (RequestHeader[i - 5] == 't' && RequestHeader[i - 4] == 'e' && RequestHeader[i - 3] == 'x' && RequestHeader[i - 2] == 't')
    {
      textIndex = i;
      textEndIndex = RequestHeaderCounter - 1;
      TextLength = textEndIndex - textIndex + 1;
      haveText = 1;
      break;
    }
  }
  for (uint8_t i = 0; i < RequestHeaderCounter; i++)
  {
    if (RequestHeader[i - 5] == 'n' && RequestHeader[i - 4] == 'a' && RequestHeader[i - 3] == 'm' && RequestHeader[i - 2] == 'e')
    {
      nameIndex = i;

      if (haveNumber == 1)
      {
        nameEndIndex = numberIndex - 9;
      }
      if (haveText == 1)
      {
        nameEndIndex = textIndex - 7;
      }
      else if (haveNumber == 0 && haveText == 0)
      {
        nameEndIndex = RequestHeaderCounter - 1;
      }
      ContactNameLength = nameEndIndex - nameIndex + 1;
      haveName = 1;
      break;
    }
  }
  if (haveName)
  {
    for (uint8_t i = 0; i < ContactNameLength; i++)
    {
      ContactName[i] = RequestHeader[nameIndex + i];
    }
    sprintf(buffer, "NameIndex= %d, NameEndIndex= %d\r\n", nameIndex, nameEndIndex);
    HAL_UART_Transmit(&huart6, buffer, 32, 1000);

    if (nameEndIndex - nameIndex < 1)
    {
      sprintf(ErrorText, "wrong name, at least type 1 character!");
      ErrorTextLength = 38;
      HAL_UART_Transmit(&huart6, "wrong Name\r\n", 12, 1000);
      return -1;
    }
    for (int i = nameIndex; i <= nameEndIndex; i++)
    {
      if (!((RequestHeader[i] >= 0x41 && RequestHeader[i] <= 0x5A) || (RequestHeader[i] >= 0x61 && RequestHeader[i] <= 0x7a)))
      {
        sprintf(ErrorText, "wrong name, A-Z, a-z are allowed");
        ErrorTextLength = 32;
        HAL_UART_Transmit(&huart6, "wrong Name\r\n", 12, 1000);
        return -1;
      }
    }
    sprintf(buffer, "Name: %s\r\n", ContactName);
    HAL_UART_Transmit(&huart6, buffer, 8 + ContactNameLength, 1000);
    sprintf(buffer, "NameLength: %d\r\n", ContactNameLength);
    HAL_UART_Transmit(&huart6, buffer, 15, 1000);
  }
  if (haveNumber)
  {
    for (uint8_t i = 0; i < ContactNumberLength; i++)
    {
      ContactNumber[i] = RequestHeader[numberIndex + i];
    }
    sprintf(buffer, "NumberIndex= %d, NumberEndIndex= %d\r\n", numberIndex, numberEndIndex);
    HAL_UART_Transmit(&huart6, buffer, 37, 1000);

    if (numberEndIndex - numberIndex != 10)
    {
      sprintf(ErrorText, "wrong number, it must be 10 number!");
      ErrorTextLength = 35;
      HAL_UART_Transmit(&huart6, "wrong Number\r\n", 14, 1000);
      return -1;
    }

    for (int i = numberIndex; i <= numberEndIndex; i++)
    {
      if (!(RequestHeader[i] >= 0x30 && RequestHeader[i] <= 0x39))
      {
        sprintf(ErrorText, "wrong number, numbers are just number!");
        ErrorTextLength = 38;
        HAL_UART_Transmit(&huart6, "wrong Number\r\n", 14, 1000);
        return -1;
      }
    }
    sprintf(buffer, "Number: %s\r\n", ContactNumber);
    HAL_UART_Transmit(&huart6, buffer, 10 + (numberEndIndex - numberIndex + 1), 1000);
  }
  if (haveText)
  {
    for (uint8_t i = 0; i < TextLength; i++)
    {
      TextMessage[i] = RequestHeader[textIndex + i];
    }
    sprintf(buffer, "TextIndex= %d, TextEndIndex= %d\r\n", textIndex, textEndIndex);
    HAL_UART_Transmit(&huart6, buffer, 33, 1000);
    if (textEndIndex - textIndex < 1)
    {
      sprintf(ErrorText, "wrong text, at least type 1 character!");
      ErrorTextLength = 38;
      HAL_UART_Transmit(&huart6, "No Input Text\r\n", 15, 1000);
      return -1;
    }
    sprintf(buffer, "Text: %s\r\n", TextMessage);
    HAL_UART_Transmit(&huart6, buffer, 8 + TextLength, 1000);
    sprintf(buffer, "TextLength: %d\r\n", TextLength);
    HAL_UART_Transmit(&huart6, buffer, 15, 1000);
  }
  return 0;
}
void ESP_SendIndex()
{
  HAL_UART_Transmit(&huart6, "Sending Index page ....\r\n", 25, 1000);
  sprintf(buffer, "AT+CIPSEND=%d,%d\r\n", clientNumber, IndexPageCharCount);
  HAL_UART_Transmit(&huart3, buffer, sizeof("AT+CIPSEND=%d,%d\r\n"), 1000);
  HAL_Delay(1000);
  HAL_UART_Transmit(&huart3, IndexPage, IndexPageCharCount, 1000);
  HAL_Delay(200);
  sprintf(buffer, "AT+CIPCLOSE=%d\r\n", clientNumber);
  HAL_UART_Transmit(&huart3, buffer, sizeof("AT+CIPCLOSE=%d\r\n"), 1000);
  HAL_Delay(300);
}
void ESP_SendSMS()
{
  HAL_UART_Transmit(&huart6, "Sending SMS Page ....\r\n", 23, 1000);
  sprintf(buffer, "AT+CIPSEND=%d,%d\r\n", clientNumber, SMSPageCharCount);
  HAL_UART_Transmit(&huart3, buffer, sizeof("AT+CIPSEND=%d,%d\r\n"), 1000);
  HAL_Delay(1000);
  HAL_UART_Transmit(&huart3, SMSPage, SMSPageCharCount, 1000);
  HAL_Delay(200);
  sprintf(buffer, "AT+CIPCLOSE=%d\r\n", clientNumber);
  HAL_UART_Transmit(&huart3, buffer, sizeof("AT+CIPCLOSE=%d\r\n"), 1000);
  HAL_Delay(300);
}

void ESP_SendContact()
{
  HAL_UART_Transmit(&huart6, "Sending Contact Page ....\r\n", 27, 1000);

  sprintf(buffer, "AT+CIPSEND=%d,%d\r\n", clientNumber, ContactPageCharCount1);
  HAL_UART_Transmit(&huart3, buffer, sizeof("AT+CIPSEND=%d,%d\r\n"), 1000);
  HAL_Delay(1000);
  HAL_UART_Transmit(&huart3, ContactPage1, ContactPageCharCount1, 1000);
  HAL_Delay(200);

  unsigned char tempName[ContactNameMaxLength];
  uint16_t tempNameLength = 0;
  unsigned char tempNumber[ContactNumberLength];
  uint16_t temp;

  // For each contact
  for (int i = 0; i < ContactCount; i++)
  {
    // Read Number
    ReadAddr = VirtAddVarTab[ContactNumberROMAddrIndex] + (i * ContactNumberLength);
    for (int j = 0; j < ContactNumberLength; j++, ReadAddr++)
    {
      HAL_FLASH_Unlock();
      EE_ReadVariable(ReadAddr, &temp);
      HAL_FLASH_Lock();
      tempNumber[j] = temp;
    }

    // Read Name
    memset(tempName, 0, sizeof(tempName));
    tempNameLength = 0;
    ReadAddr = VirtAddVarTab[ContactNameROMAddrIndex] + (i * ContactNameMaxLength);
    for (int j = 0; j < ContactNameMaxLength; j++, ReadAddr++)
    {
      HAL_FLASH_Unlock();
      if (EE_ReadVariable(ReadAddr, &temp) != HAL_OK)
      {
        break; // Its not because an error, the name ENDS if it cant read.
      }
      HAL_FLASH_Lock();

      if ((temp >= 0x41 && temp <= 0x5A) || (temp >= 0x61 && temp <= 0x7a))
      {
        tempNameLength++;
        tempName[j] = temp;
      }
    }

    unsigned char buffer3[tempNameLength + ContactNumberLength + 27];
    sprintf(buffer3, "<tr><td>%s</td><td>%s</td></tr>", tempName, tempNumber);
    sprintf(buffer, "AT+CIPSEND=%d,%d\r\n", clientNumber, sizeof(buffer3));
    HAL_UART_Transmit(&huart3, buffer, sizeof("AT+CIPSEND=%d,%d\r\n"), 1000);
    HAL_Delay(1000);
    HAL_UART_Transmit(&huart3, buffer3, sizeof(buffer3), 1000);
    HAL_Delay(300);

  }
  if(ContactCount == 0)
    {
    unsigned char buffer3[29];
    sprintf(buffer3, "<tr><td>-</td><td>-</td></tr>");
    sprintf(buffer, "AT+CIPSEND=%d,%d\r\n", clientNumber, sizeof(buffer3));
    HAL_UART_Transmit(&huart3, buffer, sizeof("AT+CIPSEND=%d,%d\r\n"), 1000);
    HAL_Delay(1000);
    HAL_UART_Transmit(&huart3, buffer3, sizeof(buffer3), 1000);
    HAL_Delay(300);
    }

  sprintf(buffer, "AT+CIPSEND=%d,%d\r\n", clientNumber, ContactPageCharCount2);
  HAL_UART_Transmit(&huart3, buffer, sizeof("AT+CIPSEND=%d,%d\r\n"), 1000);
  HAL_Delay(1000);
  HAL_UART_Transmit(&huart3, ContactPage2, ContactPageCharCount2, 1000);
  HAL_Delay(300);
  sprintf(buffer, "AT+CIPCLOSE=%d\r\n", clientNumber);
  HAL_UART_Transmit(&huart3, buffer, sizeof("AT+CIPCLOSE=%d\r\n"), 1000);
  HAL_Delay(300);
}
void ESP_SendSuccess()
{
  HAL_UART_Transmit(&huart6, "Sending Success Page ....\r\n", 27, 1000);
  sprintf(buffer, "AT+CIPSEND=%d,%d\r\n", clientNumber, SuccessPageCharCount);
  HAL_UART_Transmit(&huart3, buffer, sizeof("AT+CIPSEND=%d,%d\r\n"), 1000);
  HAL_Delay(1000);
  HAL_UART_Transmit(&huart3, SuccessPage, SuccessPageCharCount, 1000);
  HAL_Delay(200);
  sprintf(buffer, "AT+CIPCLOSE=%d\r\n", clientNumber);
  HAL_UART_Transmit(&huart3, buffer, sizeof("AT+CIPCLOSE=%d\r\n"), 1000);
  HAL_Delay(300);
}

void ESP_SendCall()
{
  HAL_UART_Transmit(&huart6, "Sending Call Page ....\r\n", 18, 1000);
  sprintf(buffer, "AT+CIPSEND=%d,%d\r\n", clientNumber, CallPageCharCount);
  HAL_UART_Transmit(&huart3, buffer, sizeof("AT+CIPSEND=%d,%d\r\n"), 1000);
  HAL_Delay(1000);
  HAL_UART_Transmit(&huart3, CallPage, CallPageCharCount, 1000);
  HAL_Delay(200);
  sprintf(buffer, "AT+CIPCLOSE=%d\r\n", clientNumber);
  HAL_UART_Transmit(&huart3, buffer, sizeof("AT+CIPCLOSE=%d\r\n"), 1000);
  HAL_Delay(300);
}
void ESP_SendTalking()
{
  HAL_UART_Transmit(&huart6, "Sending Talking Page ....\r\n", 27, 1000);
  sprintf(buffer, "AT+CIPSEND=%d,%d\r\n", clientNumber, TalkingPageCharCount);
  HAL_UART_Transmit(&huart3, buffer, sizeof("AT+CIPSEND=%d,%d\r\n"), 1000);
  HAL_Delay(1000);
  HAL_UART_Transmit(&huart3, TalkingPage, TalkingPageCharCount, 1000);
  HAL_Delay(200);
  sprintf(buffer, "AT+CIPCLOSE=%d\r\n", clientNumber);
  HAL_UART_Transmit(&huart3, buffer, sizeof("AT+CIPCLOSE=%d\r\n"), 1000);
  HAL_Delay(300);
}
void ESP_SendError()
{
  HAL_UART_Transmit(&huart6, "Sending Error page ....\r\n", 25, 1000);

  sprintf(buffer, "AT+CIPSEND=%d,%d\r\n", clientNumber, ErrorPageCharCount1);
  HAL_UART_Transmit(&huart3, buffer, sizeof("AT+CIPSEND=%d,%d\r\n"), 1000);
  HAL_Delay(500);
  HAL_UART_Transmit(&huart3, ErrorPage1, ErrorPageCharCount1, 1000);
  HAL_Delay(200);

  sprintf(buffer, "AT+CIPSEND=%d,%d\r\n", clientNumber, ErrorTextLength);
  HAL_UART_Transmit(&huart3, buffer, sizeof("AT+CIPSEND=%d,%d\r\n"), 1000);
  HAL_Delay(500);
  HAL_UART_Transmit(&huart3, ErrorText, ErrorTextLength, 1000);
  HAL_Delay(200);

  sprintf(buffer, "AT+CIPSEND=%d,%d\r\n", clientNumber, ErrorPageCharCount2);
  HAL_UART_Transmit(&huart3, buffer, sizeof("AT+CIPSEND=%d,%d\r\n"), 1000);
  HAL_Delay(500);
  HAL_UART_Transmit(&huart3, ErrorPage2, ErrorPageCharCount2, 1000);
  HAL_Delay(200);

  sprintf(buffer, "AT+CIPCLOSE=%d\r\n", clientNumber);
  HAL_UART_Transmit(&huart3, buffer, sizeof("AT+CIPCLOSE=%d\r\n"), 1000);
  HAL_Delay(300);
}
/* USER CODE END 0 */

int main(void)
{

  /* MCU Configuration--------------------------------------------------------*/

  /* Reset of all peripherals, Initializes the Flash interface and the Systick. */
  HAL_Init();

  /* Configure the system clock */
  SystemClock_Config();

  /* Initialize all configured peripherals */
  MX_GPIO_Init();
  MX_USART2_UART_Init();
  MX_USART3_UART_Init();
  MX_USART6_UART_Init();
  /* USER CODE BEGIN 2 */
  //========================================= Init ========================================= //
  HAL_UART_Transmit(&huart6, "\r\n========Debug=======\r\n", 24, 1000);

  HAL_UART_Transmit(&huart6, "EEPROM Init", 11, 1000);
  EEPROM_Init();

  HAL_GPIO_WritePin(GPIOD, LD3_Pin | LD4_Pin | LD5_Pin | LD6_Pin, GPIO_PIN_SET);
  HAL_UART_Transmit(&huart6, ": OK\r\nSimCom Init", 17, 1000);
  SIMCOM_Init();
  HAL_GPIO_WritePin(GPIOD, LD3_Pin | LD4_Pin | LD5_Pin | LD6_Pin, GPIO_PIN_RESET);
  HAL_Delay(800);

  HAL_GPIO_WritePin(GPIOD, LD3_Pin | LD4_Pin | LD5_Pin | LD6_Pin, GPIO_PIN_SET);
  HAL_UART_Transmit(&huart6, ": OK\r\nESPMOD Init", 17, 1000);
  ESP_Init(Wifi_Init);
  HAL_UART_Transmit(&huart6, ": OK\r\n====================\r\n", 28, 1000);
  HAL_GPIO_WritePin(GPIOD, LD3_Pin | LD4_Pin | LD5_Pin | LD6_Pin, GPIO_PIN_RESET);

  EEPROM_ListContacts();
  HAL_UART_Transmit(&huart6, "========Ready=======\r\n", 22, 1000);
  //========================================= Init ========================================= //
  /* USER CODE END 2 */

  /* Create the thread(s) */
  /* definition and creation of defaultTask */
  osThreadDef(defaultTask, StartDefaultTask, osPriorityNormal, 0, 128);
  defaultTaskHandle = osThreadCreate(osThread(defaultTask), NULL);

  /* Start scheduler */
  osKernelStart();

  /* We should never get here as control is now taken by the scheduler */

  /* Infinite loop */
  while (1)
  {

  }
}

void SystemClock_Config(void)
{
  RCC_OscInitTypeDef RCC_OscInitStruct = {0};
  RCC_ClkInitTypeDef RCC_ClkInitStruct = {0};

  /** Configure the main internal regulator output voltage
  */
  __HAL_RCC_PWR_CLK_ENABLE();
  __HAL_PWR_VOLTAGESCALING_CONFIG(PWR_REGULATOR_VOLTAGE_SCALE1);
  /** Initializes the CPU, AHB and APB busses clocks
  */
  RCC_OscInitStruct.OscillatorType = RCC_OSCILLATORTYPE_HSE;
  RCC_OscInitStruct.HSEState = RCC_HSE_ON;
  RCC_OscInitStruct.PLL.PLLState = RCC_PLL_ON;
  RCC_OscInitStruct.PLL.PLLSource = RCC_PLLSOURCE_HSE;
  RCC_OscInitStruct.PLL.PLLM = 8;
  RCC_OscInitStruct.PLL.PLLN = 336;
  RCC_OscInitStruct.PLL.PLLP = RCC_PLLP_DIV2;
  RCC_OscInitStruct.PLL.PLLQ = 7;
  if (HAL_RCC_OscConfig(&RCC_OscInitStruct) != HAL_OK)
  {
    Error_Handler();
  }
  /** Initializes the CPU, AHB and APB busses clocks
  */
  RCC_ClkInitStruct.ClockType = RCC_CLOCKTYPE_HCLK|RCC_CLOCKTYPE_SYSCLK
                              |RCC_CLOCKTYPE_PCLK1|RCC_CLOCKTYPE_PCLK2;
  RCC_ClkInitStruct.SYSCLKSource = RCC_SYSCLKSOURCE_PLLCLK;
  RCC_ClkInitStruct.AHBCLKDivider = RCC_SYSCLK_DIV1;
  RCC_ClkInitStruct.APB1CLKDivider = RCC_HCLK_DIV4;
  RCC_ClkInitStruct.APB2CLKDivider = RCC_HCLK_DIV2;

  if (HAL_RCC_ClockConfig(&RCC_ClkInitStruct, FLASH_LATENCY_5) != HAL_OK)
  {
    Error_Handler();
  }
}

static void MX_USART2_UART_Init(void)
{

  huart2.Instance = USART2;
  huart2.Init.BaudRate = 115200;
  huart2.Init.WordLength = UART_WORDLENGTH_8B;
  huart2.Init.StopBits = UART_STOPBITS_1;
  huart2.Init.Parity = UART_PARITY_NONE;
  huart2.Init.Mode = UART_MODE_TX_RX;
  huart2.Init.HwFlowCtl = UART_HWCONTROL_NONE;
  huart2.Init.OverSampling = UART_OVERSAMPLING_16;
  if (HAL_UART_Init(&huart2) != HAL_OK)
  {
    Error_Handler();
  }

}

static void MX_USART3_UART_Init(void)
{

  huart3.Instance = USART3;
  huart3.Init.BaudRate = 115200;
  huart3.Init.WordLength = UART_WORDLENGTH_8B;
  huart3.Init.StopBits = UART_STOPBITS_1;
  huart3.Init.Parity = UART_PARITY_NONE;
  huart3.Init.Mode = UART_MODE_TX_RX;
  huart3.Init.HwFlowCtl = UART_HWCONTROL_NONE;
  huart3.Init.OverSampling = UART_OVERSAMPLING_16;
  if (HAL_UART_Init(&huart3) != HAL_OK)
  {
    Error_Handler();
  }

}

static void MX_USART6_UART_Init(void)
{

  huart6.Instance = USART6;
  huart6.Init.BaudRate = 115200;
  huart6.Init.WordLength = UART_WORDLENGTH_8B;
  huart6.Init.StopBits = UART_STOPBITS_1;
  huart6.Init.Parity = UART_PARITY_NONE;
  huart6.Init.Mode = UART_MODE_TX_RX;
  huart6.Init.HwFlowCtl = UART_HWCONTROL_NONE;
  huart6.Init.OverSampling = UART_OVERSAMPLING_16;
  if (HAL_UART_Init(&huart6) != HAL_OK)
  {
    Error_Handler();
  }

}

static void MX_GPIO_Init(void)
{
  GPIO_InitTypeDef GPIO_InitStruct = {0};

  /* GPIO Ports Clock Enable */
  __HAL_RCC_GPIOC_CLK_ENABLE();
  __HAL_RCC_GPIOH_CLK_ENABLE();
  __HAL_RCC_GPIOA_CLK_ENABLE();
  __HAL_RCC_GPIOB_CLK_ENABLE();
  __HAL_RCC_GPIOD_CLK_ENABLE();

  /*Configure GPIO pin Output Level */
  HAL_GPIO_WritePin(GPIOD, LD4_Pin|LD3_Pin|LD5_Pin|LD6_Pin, GPIO_PIN_RESET);

  /*Configure GPIO pin : B1_Pin */
  GPIO_InitStruct.Pin = B1_Pin;
  GPIO_InitStruct.Mode = GPIO_MODE_IT_RISING;
  GPIO_InitStruct.Pull = GPIO_NOPULL;
  HAL_GPIO_Init(B1_GPIO_Port, &GPIO_InitStruct);

  /*Configure GPIO pin : BOOT1_Pin */
  GPIO_InitStruct.Pin = BOOT1_Pin;
  GPIO_InitStruct.Mode = GPIO_MODE_INPUT;
  GPIO_InitStruct.Pull = GPIO_NOPULL;
  HAL_GPIO_Init(BOOT1_GPIO_Port, &GPIO_InitStruct);

  /*Configure GPIO pins : LD4_Pin LD3_Pin LD5_Pin LD6_Pin */
  GPIO_InitStruct.Pin = LD4_Pin|LD3_Pin|LD5_Pin|LD6_Pin;
  GPIO_InitStruct.Mode = GPIO_MODE_OUTPUT_PP;
  GPIO_InitStruct.Pull = GPIO_NOPULL;
  GPIO_InitStruct.Speed = GPIO_SPEED_FREQ_LOW;
  HAL_GPIO_Init(GPIOD, &GPIO_InitStruct);

  /* EXTI interrupt init*/
  HAL_NVIC_SetPriority(EXTI0_IRQn, 0, 0);
  HAL_NVIC_EnableIRQ(EXTI0_IRQn);

}

/* USER CODE BEGIN 4 */
void HAL_UART_RxCpltCallback(UART_HandleTypeDef *huart)
{
  if (huart->Instance == USART3)
  {
    if (request == 1)
    {
      if (EspRxBuffer[0] == ' ' || RequestHeaderCounter == sizeof(RequestHeader))
      {
        //RequestHeaderCounter = 0; we need this to calc tx buffer size
        request = 0;
        ready = 1;
      }
      else
      {
        RequestHeader[RequestHeaderCounter] = EspRxBuffer[0];
        RequestHeaderCounter++;
      }
    }

    EspRxArray[rxCounter] = EspRxBuffer[0];
    if (EspRxArray[rxCounter - 4] == 'I' && EspRxArray[rxCounter - 3] == 'P' && EspRxArray[rxCounter - 2] == 'D')
    {
      clientNumber = EspRxBuffer[0] - 48;
    }
    if (EspRxArray[rxCounter - 4] == 'G' && EspRxArray[rxCounter - 3] == 'E' && EspRxArray[rxCounter - 2] == 'T')
    // &&  EspRxArray[rxCounter - 1] == ' ' && EspRxArray[rxCounter] == '/'
    {
      request = 1;
      // Make ESP Rx Buffer to Zero Byte
      rxCounter = 0;
      memset(EspRxArray, 0, sizeof(EspRxArray));
      memset(RequestHeader, 0, sizeof(RequestHeader));
      RequestHeaderCounter = 0;
      HAL_UART_Receive_IT(&huart3, EspRxBuffer, 1);
    }
    else
    {
      HAL_UART_Receive_IT(&huart3, EspRxBuffer, 1);
    }
    rxCounter++;
  }
}
/* USER CODE END 4 */

void StartDefaultTask(void const * argument)
{

  /* USER CODE BEGIN 5 */
  /* Infinite loop */
  for (;;)
  {

    if (ready)
    {
      ESP_HandleRequset();
      //SIM800_HandleRequset();
      ready = 0;
      HAL_UART_Receive_IT(&huart3, EspRxBuffer, 1);
    }
    //osDelay(1);
  }
  /* USER CODE END 5 */
}

void HAL_TIM_PeriodElapsedCallback(TIM_HandleTypeDef *htim)
{
  if (htim->Instance == TIM14) {
    HAL_IncTick();
  }
}

void Error_Handler(void)
{
  /* USER CODE BEGIN Error_Handler_Debug */
  /* User can add his own implementation to report the HAL error return state */
  HAL_UART_Transmit(&huart6, "\r\n====================", 22, 1000);
  HAL_UART_Transmit(&huart6, "\r\nAn Error occured\r\n", 20, 1000);
  HAL_UART_Transmit(&huart6, "====================\r\n", 22, 1000);
  while (1)
  {
    HAL_GPIO_WritePin(LD3_GPIO_Port, LD3_Pin, GPIO_PIN_SET);
    HAL_GPIO_WritePin(LD4_GPIO_Port, LD4_Pin, GPIO_PIN_SET);
    HAL_GPIO_WritePin(LD5_GPIO_Port, LD5_Pin, GPIO_PIN_SET);
    HAL_GPIO_WritePin(LD6_GPIO_Port, LD6_Pin, GPIO_PIN_SET);
    HAL_Delay(1000);
    HAL_GPIO_WritePin(LD3_GPIO_Port, LD3_Pin, GPIO_PIN_RESET);
    HAL_GPIO_WritePin(LD4_GPIO_Port, LD4_Pin, GPIO_PIN_RESET);
    HAL_GPIO_WritePin(LD5_GPIO_Port, LD5_Pin, GPIO_PIN_RESET);
    HAL_GPIO_WritePin(LD6_GPIO_Port, LD6_Pin, GPIO_PIN_RESET);
    HAL_Delay(1000);
  }
  /* USER CODE END Error_Handler_Debug */
}

/************************ (C) COPYRIGHT STMicroelectronics *****END OF FILE****/
